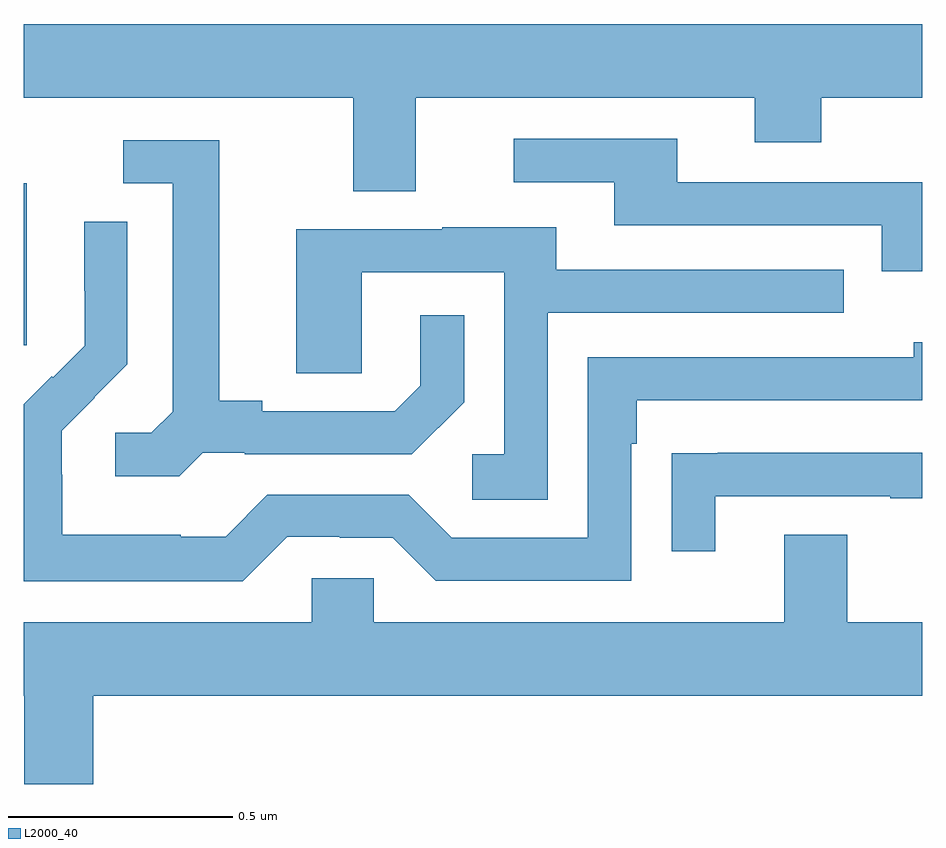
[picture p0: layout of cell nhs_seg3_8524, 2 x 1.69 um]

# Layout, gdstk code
import gdstk
lib = gdstk.Library(unit=1e-6, precision=1e-09)
def R(c, l, rs):  # rectangles x0, y0, x1, y1
    for r in rs: c.add(gdstk.rectangle(r[:2], r[2:], *l))
def P(c, l, *ps):  # polygons
    for p in ps: c.add(gdstk.Polygon(p, *l))
L2000_40 = (2000, 40)

nhs_seg3_8524 = lib.new_cell('nhs_seg3_8524')
R(nhs_seg3_8524, L2000_40, [(217,688.377,217.006,688.738)])
P(nhs_seg3_8524, L2000_40, [(217.873,688.928),(218.627,688.928),(218.627,688.829),(218.775,688.829),(218.775,688.928),(219,688.928),(219,689.092),(217,689.092),(217,688.928),(217.733,688.928),(217.733,688.72),(217.873,688.72)],
  [(219,688.74),(218.455,688.74),(218.455,688.836),(218.091,688.836),(218.091,688.74),(218.315,688.74),(218.315,688.644),(218.91,688.644),(218.91,688.541),(219,688.541)],
  [(217.398,688.137),(217.492,688.137),(217.492,688.134),(217.864,688.134),(217.98,688.25),(217.98,688.444),(217.883,688.444),(217.883,688.287),(217.826,688.23),(217.531,688.23),(217.531,688.253),(217.435,688.253),(217.435,688.833),(217.221,688.833),(217.221,688.737),(217.331,688.737),(217.331,688.229),(217.284,688.182),(217.203,688.182),(217.203,688.085),(217.346,688.085)],
  [(217.587,687.951),(217.703,687.951),(217.703,687.948),(217.821,687.948),(217.917,687.852),(218.352,687.852),(218.352,688.157),(218.365,688.157),(218.365,688.254),(219,688.254),(219,688.384),(218.981,688.384),(218.981,688.35),(218.256,688.35),(218.256,687.948),(217.953,687.948),(217.857,688.044),(217.542,688.044),(217.449,687.951),(217.349,687.951),(217.349,687.955),(217.086,687.955),(217.086,688.089),(217.084,688.089),(217.084,688.186),(217.158,688.26),(217.157,688.261),(217.23,688.334),(217.23,688.652),(217.134,688.652),(217.134,688.498),(217.136,688.498),(217.136,688.376),(217.065,688.305),(217.062,688.308),(217,688.246),(217,687.851),(217.487,687.851)],
  [(218.166,688.449),(218.825,688.449),(218.825,688.545),(218.185,688.545),(218.185,688.639),(217.931,688.639),(217.931,688.635),(217.607,688.635),(217.607,688.315),(217.752,688.315),(217.752,688.539),(218.07,688.539),(218.07,688.134),(217.998,688.134),(217.998,688.033),(218.166,688.033)],
  [(218.539,688.041),(218.929,688.041),(218.929,688.036),(219,688.036),(219,688.137),(218.545,688.137),(218.545,688.136),(218.443,688.136),(218.443,687.918),(218.539,687.918)],
  [(217.154,687.596),(219,687.596),(219,687.76),(218.833,687.76),(218.833,687.955),(218.693,687.955),(218.693,687.76),(217.779,687.76),(217.779,687.858),(217.641,687.858),(217.641,687.76),(217,687.76),(217,687.596),(217.001,687.596),(217.001,687.4),(217.154,687.4)])

lib.write_gds('nhs_seg3_8524.gds')
